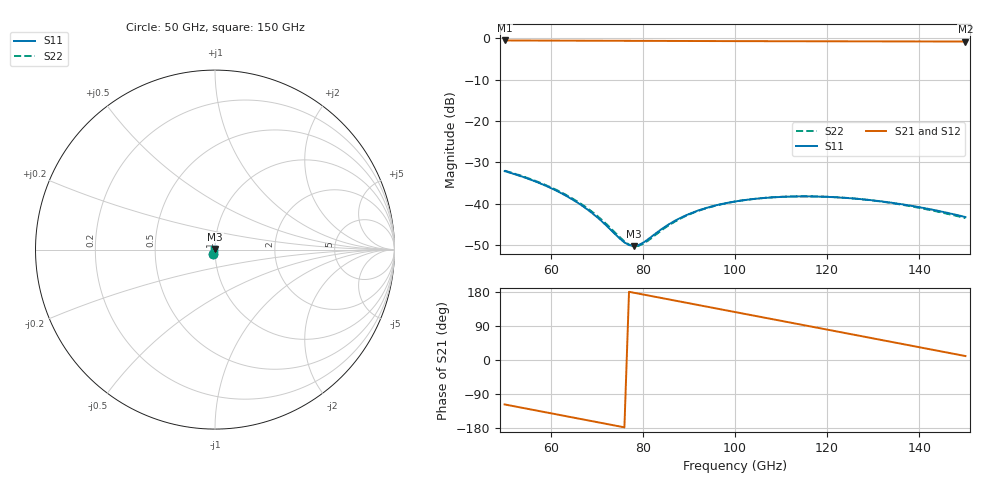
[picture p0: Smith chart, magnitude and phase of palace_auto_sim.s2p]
#  GHZ S DB R 50
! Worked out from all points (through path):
!   101 points, 50 GHz to 150 GHz, reference 50 ohm
!   highest |S21| = -0.54 dB at 50 GHz (marker M1); lowest = -0.8 dB at 150 GHz (marker M2)
!   group delay of S21, straight-line fit = 6.45 ps
!   lowest |S11| = -50.3 dB at 78 GHz (marker M3), VSWR 1.01, Z = 50 + j0.306 ohm
!   |S11| at or under -10 dB: start of sweep to end of sweep
!   |S22| runs from -50.3 to -32.1 dB; largest |S21 - S12| = 1.1e-14
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50  -32.16 -115.9  -0.54 -117.3  -0.54 -117.3  -32.05 -115.9
54  -33.57 -127.6  -0.56 -126.6  -0.56 -126.6  -33.44 -127.7
59  -35.74 -143.3  -0.57 -138.2  -0.57 -138.2  -35.57 -143.2
63  -37.92 -157.1  -0.59 -147.5  -0.59 -147.5  -37.71 -156.8
67  -40.66 -173.2  -0.60 -156.8  -0.60 -156.8  -40.39 -172.6
71  -44.21 165.5  -0.61 -166.1  -0.61 -166.1  -43.86 166.8
76  -49.41 117.0  -0.63 -177.7  -0.63 -177.7  -49.15 120.8
78  -50.29 86.5  -0.63 177.6  -0.63 177.6  -50.32 90.8
80  -49.53 57.1  -0.64 173.0  -0.64 173.0  -49.81 60.3
84  -46.25 18.5  -0.65 163.7  -0.65 163.7  -46.54 19.5
87  -44.15 0.8  -0.66 156.7  -0.66 156.7  -44.35 1.1
91  -42.10 -17.0  -0.68 147.5  -0.68 147.5  -42.22 -17.0
95  -40.69 -31.9  -0.69 138.2  -0.69 138.2  -40.75 -32.0
100  -39.51 -48.6  -0.70 126.6  -0.70 126.6  -39.53 -48.9
105  -38.79 -64.7  -0.72 115.0  -0.72 115.0  -38.78 -64.9
109  -38.46 -77.4  -0.73 105.7  -0.73 105.7  -38.43 -77.6
117  -38.30 -103.4  -0.74 87.2  -0.74 87.2  -38.26 -103.6
125  -38.71 -131.2  -0.76 68.6  -0.76 68.6  -38.71 -131.4
129  -39.12 -146.0  -0.76 59.3  -0.76 59.3  -39.15 -146.2
134  -39.81 -165.3  -0.77 47.7  -0.77 47.7  -39.89 -165.8
142  -41.30 161.3  -0.79 29.1  -0.79 29.1  -41.49 159.8
150  -43.28 124.0  -0.80 10.4  -0.80 10.4  -43.51 120.0
